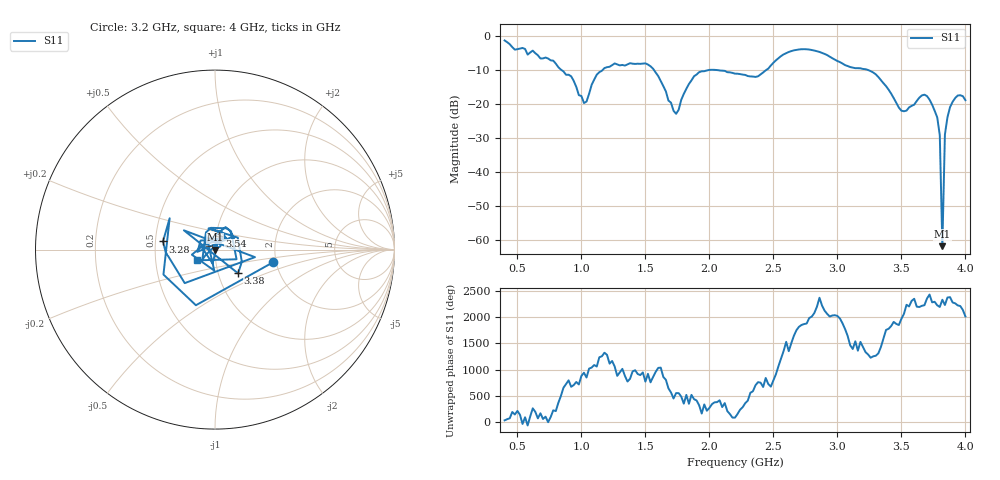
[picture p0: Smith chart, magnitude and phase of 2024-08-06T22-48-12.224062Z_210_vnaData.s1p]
!Created with skrf (http://scikit-rf.org).
# Hz S RI R 50.0
!freq ReS11 ImS11
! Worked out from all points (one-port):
!   181 points, 400 MHz to 4 GHz, reference 50 ohm
!   lowest |S11| = -61.8 dB at 3.82 GHz (marker M1), VSWR 1.00, Z = 49.9 + j0.0161 ohm
!   |S11| at or under -10 dB: 1.568 GHz to 1.986 GHz (417.6 MHz wide, 23.5 % of centre); 2.072 GHz to 2.441 GHz (368.9 MHz wide, 16.3 % of centre); 3.245 GHz to end of sweep (the widest 3 of 4)
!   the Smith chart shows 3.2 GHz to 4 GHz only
!   S11 on the Smith chart (normalised r, x): 3.2 GHz: 1.92, -0.31; 3.28 GHz: 0.55, +0.05; 3.38 GHz: 1.24, -0.34; 3.54 GHz: 1.04, +0.16; 4 GHz: 0.82, -0.10
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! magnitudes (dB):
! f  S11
! 400 MHz  -1.2
! 860 MHz  -10.3
! 920 MHz  -11.8
! 1.02 GHz  -19.6
! 1.12 GHz  -11.3
! 1.3 GHz  -8.6
! 1.54 GHz  -8.8
! 1.72 GHz  -21.9
! 1.76 GHz  -21.6
! 1.84 GHz  -14.0
! 1.92 GHz  -10.5
! 2.2 GHz  -11.0
! 2.38 GHz  -11.8
! 2.66 GHz  -4.1
! 3.1 GHz  -9.0
! 3.2 GHz  -9.6
! 3.28 GHz  -10.7
! 3.38 GHz  -14.7
! 3.54 GHz  -21.9
! 3.56 GHz  -20.9
! 3.68 GHz  -17.2
! 3.78 GHz  -23.9
! 3.8 GHz  -29.1
! 3.82 GHz  -61.8
! 3.84 GHz  -28.9
! 3.86 GHz  -23.8
! 3.94 GHz  -17.4
! 4 GHz  -18.8
